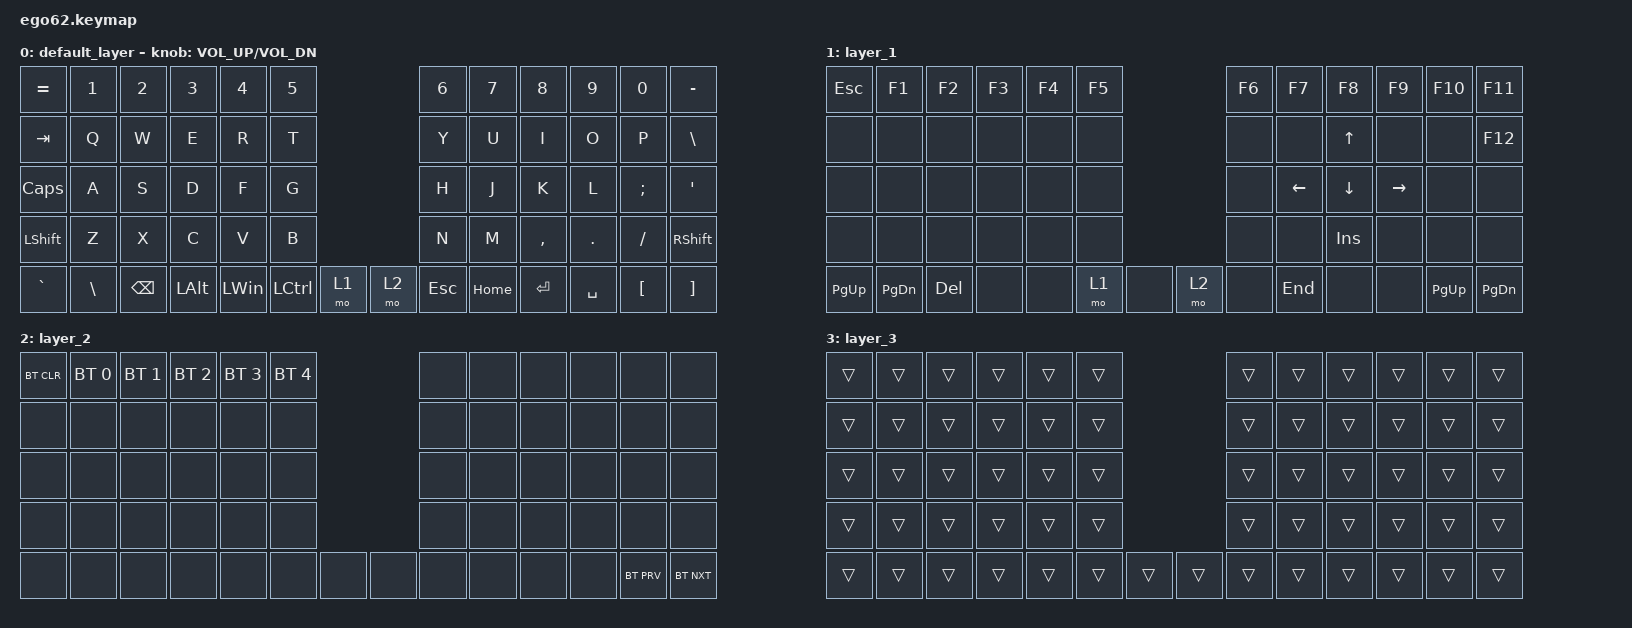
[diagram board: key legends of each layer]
/*
 * Copyright (c) 2020 The ZMK Contributors
 *
 * SPDX-License-Identifier: MIT
 */

#include <behaviors.dtsi>
#include <dt-bindings/zmk/bt.h>
#include <dt-bindings/zmk/keys.h>

/ {
    keymap {
        compatible = "zmk,keymap";

        default_layer {
            bindings = <
&kp EQUAL     &kp N1         &kp N2         &kp N3        &kp N4        &kp N5                          &kp N6      &kp N7    &kp N8     &kp N9     &kp N0         &kp MINUS
&kp TAB       &kp Q          &kp W          &kp E         &kp R         &kp T                           &kp Y       &kp U     &kp I      &kp O      &kp P          &kp BACKSLASH
&kp CAPSLOCK  &kp A          &kp S          &kp D         &kp F         &kp G                           &kp H       &kp J     &kp K      &kp L      &kp SEMICOLON  &kp SQT
&kp LSHFT     &kp Z          &kp X          &kp C         &kp V         &kp B                           &kp N       &kp M     &kp COMMA  &kp DOT    &kp FSLH       &kp RSHIFT
&kp GRAVE     &kp BACKSLASH  &kp BACKSPACE  &kp LEFT_ALT  &kp LEFT_WIN  &kp LEFT_CONTROL  &mo 1  &mo 2  &kp ESCAPE  &kp HOME  &kp ENTER  &kp SPACE  &kp LBKT       &kp RBKT
            >;

            sensor-bindings = <&inc_dec_kp C_VOL_UP C_VOL_DN>;
        };

        layer_1 {
            bindings = <
&kp ESC      &kp F1         &kp F2      &kp F3  &kp F4  &kp F5                &kp F6  &kp F7    &kp F8      &kp F9     &kp F10      &kp F11
&none        &none          &none       &none   &none   &none                 &none   &none     &kp UP      &none      &none        &kp F12
&none        &none          &none       &none   &none   &none                 &none   &kp LEFT  &kp DOWN    &kp RIGHT  &none        &none
&none        &none          &none       &none   &none   &none                 &none   &none     &kp INSERT  &none      &none        &none
&kp PAGE_UP  &kp PAGE_DOWN  &kp DELETE  &none   &none   &mo 1   &none  &mo 2  &none   &kp END   &none       &none      &kp PAGE_UP  &kp PAGE_DOWN
            >;
        };

        layer_2 {
            bindings = <
&bt BT_CLR  &bt BT_SEL 0  &bt BT_SEL 1  &bt BT_SEL 2  &bt BT_SEL 3  &bt BT_SEL 4                &none  &none  &none  &none  &none       &none
&none       &none         &none         &none         &none         &none                       &none  &none  &none  &none  &none       &none
&none       &none         &none         &none         &none         &none                       &none  &none  &none  &none  &none       &none
&none       &none         &none         &none         &none         &none                       &none  &none  &none  &none  &none       &none
&none       &none         &none         &none         &none         &none         &none  &none  &none  &none  &none  &none  &bt BT_PRV  &bt BT_NXT
            >;
        };

        layer_3 {
            bindings = <
&trans  &trans  &trans  &trans  &trans  &trans                  &trans  &trans  &trans  &trans  &trans  &trans
&trans  &trans  &trans  &trans  &trans  &trans                  &trans  &trans  &trans  &trans  &trans  &trans
&trans  &trans  &trans  &trans  &trans  &trans                  &trans  &trans  &trans  &trans  &trans  &trans
&trans  &trans  &trans  &trans  &trans  &trans                  &trans  &trans  &trans  &trans  &trans  &trans
&trans  &trans  &trans  &trans  &trans  &trans  &trans  &trans  &trans  &trans  &trans  &trans  &trans  &trans
            >;
        };
    };
};
